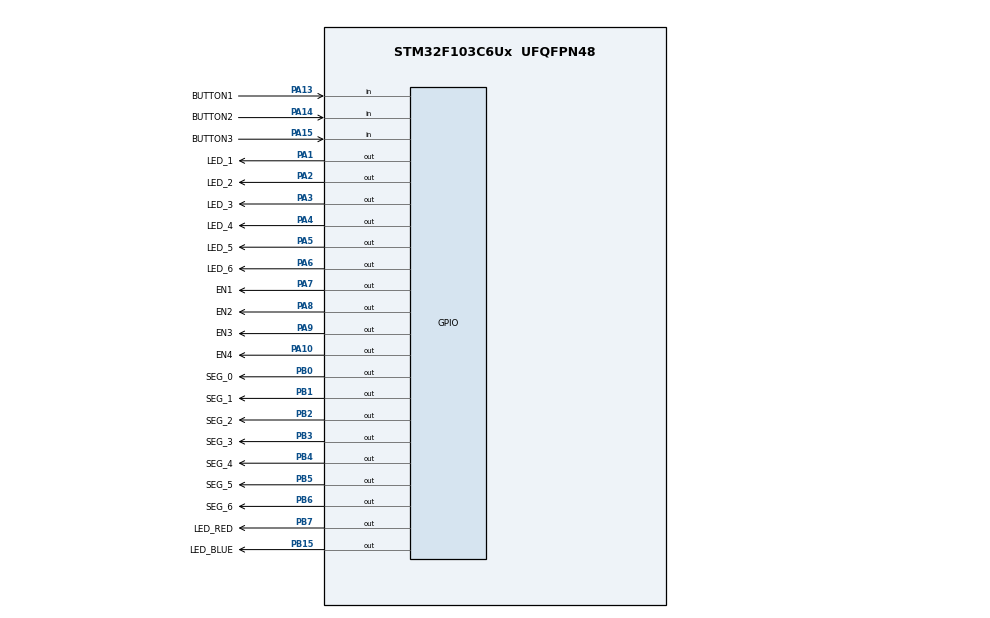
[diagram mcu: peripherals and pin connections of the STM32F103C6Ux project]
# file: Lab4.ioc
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Mcu.Family=STM32F1
Mcu.Name=STM32F103C6Ux
Mcu.Package=UFQFPN48
NVIC.PriorityGroup=NVIC_PRIORITYGROUP_4
NVIC.TIM2_IRQn=true\:0\:0\:false\:false\:true\:true\:true
PA1.GPIO_Label=LED_1
PA1.Signal=GPIO_Output
PA10.GPIO_Label=EN4
PA10.Signal=GPIO_Output
PA13.GPIO_Label=BUTTON1
PA13.GPIO_PuPd=GPIO_PULLUP
PA13.Signal=GPIO_Input
PA14.GPIO_Label=BUTTON2
PA14.GPIO_PuPd=GPIO_PULLUP
PA14.Signal=GPIO_Input
PA15.GPIO_Label=BUTTON3
PA15.GPIO_PuPd=GPIO_PULLUP
PA15.Signal=GPIO_Input
PA2.GPIO_Label=LED_2
PA2.Signal=GPIO_Output
PA3.GPIO_Label=LED_3
PA3.Signal=GPIO_Output
PA4.GPIO_Label=LED_4
PA4.Signal=GPIO_Output
PA5.GPIO_Label=LED_5
PA5.Signal=GPIO_Output
PA6.GPIO_Label=LED_6
PA6.Signal=GPIO_Output
PA7.GPIO_Label=EN1
PA7.Signal=GPIO_Output
PA8.GPIO_Label=EN2
PA8.Signal=GPIO_Output
PA9.GPIO_Label=EN3
PA9.Signal=GPIO_Output
PB0.GPIO_Label=SEG_0
PB0.Signal=GPIO_Output
PB1.GPIO_Label=SEG_1
PB1.Signal=GPIO_Output
PB15.GPIO_Label=LED_BLUE
PB15.Signal=GPIO_Output
PB2.GPIO_Label=SEG_2
PB2.Signal=GPIO_Output
PB3.GPIO_Label=SEG_3
PB3.Signal=GPIO_Output
PB4.GPIO_Label=SEG_4
PB4.Signal=GPIO_Output
PB5.GPIO_Label=SEG_5
PB5.Signal=GPIO_Output
PB6.GPIO_Label=SEG_6
PB6.Signal=GPIO_Output
PB7.GPIO_Label=LED_RED
PB7.Signal=GPIO_Output
ProjectManager.HeapSize=0x200
ProjectManager.StackSize=0x400
ProjectManager.TargetToolchain=STM32CubeIDE
RCC.APB1Freq_Value=8000000
RCC.APB2Freq_Value=8000000
TIM2.Period=9
TIM2.Prescaler=7999
VP_SYS_VS_ND.Mode=No_Debug
VP_TIM2_VS_ClockSourceINT.Mode=Internal
board=custom

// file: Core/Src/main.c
/* USER CODE BEGIN Header */
/**
  ******************************************************************************
  * @file           : main.c
  * @brief          : Main program body
  ******************************************************************************
  * @attention
  *
  * <h2><center>&copy; Copyright (c) 2024 STMicroelectronics.
  * All rights reserved.</center></h2>
  *
  * This software component is licensed by ST under BSD 3-Clause license,
  * the "License"; You may not use this file except in compliance with the
  * License. You may obtain a copy of the License at:
  *                        opensource.org/licenses/BSD-3-Clause
  *
  ******************************************************************************
  */
/* USER CODE END Header */
#include "main.h"

/* USER CODE BEGIN Includes */
#include "global.h"
#include "softwareTimer.h"
#include "fsm_automatic.h"
#include "trafficLights.h"
#include "button.h"
#include "fsm_manual.h"

#include "scheduler.h"
/* USER CODE END Includes */

TIM_HandleTypeDef htim2;

void SystemClock_Config(void);
static void MX_GPIO_Init(void);
static void MX_TIM2_Init(void);

/* USER CODE BEGIN 0 */
void testScheduler()
{
	HAL_GPIO_TogglePin(LED_BLUE_GPIO_Port, LED_BLUE_Pin);
}

void testOneShotTask() {
//	HAL_GPIO_WritePin(LED_1_GPIO_Port, LED_1_Pin, GPIO_PIN_SET);
	HAL_GPIO_TogglePin(LED_1_GPIO_Port, LED_1_Pin);
}

//void scan7SegLedTask()
//{
//	if (ledIndex >= MAX_LED) {
//		ledIndex = 0;
//	}
//	update7seg(ledIndex++);
//}

/* USER CODE END 0 */

int main(void)
{

  /* MCU Configuration--------------------------------------------------------*/

  /* Reset of all peripherals, Initializes the Flash interface and the Systick. */
  HAL_Init();

  /* Configure the system clock */
  SystemClock_Config();

  /* Initialize all configured peripherals */
  MX_GPIO_Init();
  MX_TIM2_Init();
  /* USER CODE BEGIN 2 */
  HAL_TIM_Base_Start_IT(&htim2);
  /* USER CODE END 2 */

  /* Infinite loop */
  /* USER CODE BEGIN WHILE */
//  int count = 0; //test
//  setTimerFor7segLed(250);	//test
//  initial();

//------------run lab 3------------------
//  setTimer1(1000);
  status = START;
//  setTimerFor7segLed(1000);
//  setTimerFor1Second(1000);
//------------run lab 3------------------

//  SCH_Add_Task(testScheduler, 0, 50);
//  SCH_Add_Task(testOneShotTask, 0, 0);

  SCH_Add_Task(scan7SegLedTask, 0, 250);
  SCH_Add_Task(oneSecondTask, 0, 1000);
  SCH_Add_Task(getKeyInput, 0, 10);
  SCH_Add_Task(fsm_automatic_run, 0, 10);
  SCH_Add_Task(fsm_manual_run, 0, 10);

  while (1)
  {
    /* USER CODE END WHILE */

    /* USER CODE BEGIN 3 */

//	  SCH_Dispatch_Tasks();
	  SCH_Dispatch_Task();		//TTan's scheduler

	  //------------TEST DELETE TASK BY FUNCTION-------------------
//	  currentTime = HAL_GetTick();
//	  if (currentTime - previousTime >= 10000) {
//		  SCH_Delete_Task_By_Function(testScheduler);
//	  }
	  //------------TEST DELETE TASK BY FUNCTION-------------------

	  //------------run lab 3------------------
//	  fsm_automatic_run();
//	  fsm_manual_run();
	  //------------run lab 3------------------

	  //==============TEST TIMER=================================
//	  if (oneSecond_flag == 1) {
//		  setTimerFor1Second(1000);
//		  toggleAllLeds();
//		  toggleGreen();
//	  }
	  //==============TEST TIMER=================================

	  //==============TEST 7-SEGMENT LED ========================

//	  if (timer7seg_flag == 1) {
//		  setTimerFor7segLed(250);
//		  if (count >= 10) {
//			  count = 0;
//		  }
//		  display7SEG(count++);
//	  }
	  //==============TEST 7-SEGMENT LED ========================

	  //==============TEST BUTTON=======================

//	  if (isButton3Pressed() || isButton1Pressed() || isButton2Pressed()) {
//		  HAL_GPIO_TogglePin(LED_BLUE_GPIO_Port, LED_BLUE_Pin);
//	  }

	  //==============TEST BUTTON=======================

  }
  /* USER CODE END 3 */
}

void SystemClock_Config(void)
{
  RCC_OscInitTypeDef RCC_OscInitStruct = {0};
  RCC_ClkInitTypeDef RCC_ClkInitStruct = {0};

  /** Initializes the RCC Oscillators according to the specified parameters
  * in the RCC_OscInitTypeDef structure.
  */
  RCC_OscInitStruct.OscillatorType = RCC_OSCILLATORTYPE_HSI;
  RCC_OscInitStruct.HSIState = RCC_HSI_ON;
  RCC_OscInitStruct.HSICalibrationValue = RCC_HSICALIBRATION_DEFAULT;
  RCC_OscInitStruct.PLL.PLLState = RCC_PLL_NONE;
  if (HAL_RCC_OscConfig(&RCC_OscInitStruct) != HAL_OK)
  {
    Error_Handler();
  }
  /** Initializes the CPU, AHB and APB buses clocks
  */
  RCC_ClkInitStruct.ClockType = RCC_CLOCKTYPE_HCLK|RCC_CLOCKTYPE_SYSCLK
                              |RCC_CLOCKTYPE_PCLK1|RCC_CLOCKTYPE_PCLK2;
  RCC_ClkInitStruct.SYSCLKSource = RCC_SYSCLKSOURCE_HSI;
  RCC_ClkInitStruct.AHBCLKDivider = RCC_SYSCLK_DIV1;
  RCC_ClkInitStruct.APB1CLKDivider = RCC_HCLK_DIV1;
  RCC_ClkInitStruct.APB2CLKDivider = RCC_HCLK_DIV1;

  if (HAL_RCC_ClockConfig(&RCC_ClkInitStruct, FLASH_LATENCY_0) != HAL_OK)
  {
    Error_Handler();
  }
}

static void MX_TIM2_Init(void)
{

  TIM_ClockConfigTypeDef sClockSourceConfig = {0};
  TIM_MasterConfigTypeDef sMasterConfig = {0};

  htim2.Instance = TIM2;
  htim2.Init.Prescaler = 7999;
  htim2.Init.CounterMode = TIM_COUNTERMODE_UP;
  htim2.Init.Period = 9;
  htim2.Init.ClockDivision = TIM_CLOCKDIVISION_DIV1;
  htim2.Init.AutoReloadPreload = TIM_AUTORELOAD_PRELOAD_DISABLE;
  if (HAL_TIM_Base_Init(&htim2) != HAL_OK)
  {
    Error_Handler();
  }
  sClockSourceConfig.ClockSource = TIM_CLOCKSOURCE_INTERNAL;
  if (HAL_TIM_ConfigClockSource(&htim2, &sClockSourceConfig) != HAL_OK)
  {
    Error_Handler();
  }
  sMasterConfig.MasterOutputTrigger = TIM_TRGO_RESET;
  sMasterConfig.MasterSlaveMode = TIM_MASTERSLAVEMODE_DISABLE;
  if (HAL_TIMEx_MasterConfigSynchronization(&htim2, &sMasterConfig) != HAL_OK)
  {
    Error_Handler();
  }

}

static void MX_GPIO_Init(void)
{
  GPIO_InitTypeDef GPIO_InitStruct = {0};

  /* GPIO Ports Clock Enable */
  __HAL_RCC_GPIOA_CLK_ENABLE();
  __HAL_RCC_GPIOB_CLK_ENABLE();

  /*Configure GPIO pin Output Level */
  HAL_GPIO_WritePin(GPIOA, LED_1_Pin|LED_2_Pin|LED_3_Pin|LED_4_Pin
                          |LED_5_Pin|LED_6_Pin|EN1_Pin|EN2_Pin
                          |EN3_Pin|EN4_Pin, GPIO_PIN_RESET);

  /*Configure GPIO pin Output Level */
  HAL_GPIO_WritePin(GPIOB, SEG_0_Pin|SEG_1_Pin|SEG_2_Pin|LED_BLUE_Pin
                          |SEG_3_Pin|SEG_4_Pin|SEG_5_Pin|SEG_6_Pin
                          |LED_RED_Pin, GPIO_PIN_RESET);

  /*Configure GPIO pins : LED_1_Pin LED_2_Pin LED_3_Pin LED_4_Pin
                           LED_5_Pin LED_6_Pin EN1_Pin EN2_Pin
                           EN3_Pin EN4_Pin */
  GPIO_InitStruct.Pin = LED_1_Pin|LED_2_Pin|LED_3_Pin|LED_4_Pin
                          |LED_5_Pin|LED_6_Pin|EN1_Pin|EN2_Pin
                          |EN3_Pin|EN4_Pin;
  GPIO_InitStruct.Mode = GPIO_MODE_OUTPUT_PP;
  GPIO_InitStruct.Pull = GPIO_NOPULL;
  GPIO_InitStruct.Speed = GPIO_SPEED_FREQ_LOW;
  HAL_GPIO_Init(GPIOA, &GPIO_InitStruct);

  /*Configure GPIO pins : SEG_0_Pin SEG_1_Pin SEG_2_Pin LED_BLUE_Pin
                           SEG_3_Pin SEG_4_Pin SEG_5_Pin SEG_6_Pin
                           LED_RED_Pin */
  GPIO_InitStruct.Pin = SEG_0_Pin|SEG_1_Pin|SEG_2_Pin|LED_BLUE_Pin
                          |SEG_3_Pin|SEG_4_Pin|SEG_5_Pin|SEG_6_Pin
                          |LED_RED_Pin;
  GPIO_InitStruct.Mode = GPIO_MODE_OUTPUT_PP;
  GPIO_InitStruct.Pull = GPIO_NOPULL;
  GPIO_InitStruct.Speed = GPIO_SPEED_FREQ_LOW;
  HAL_GPIO_Init(GPIOB, &GPIO_InitStruct);

  /*Configure GPIO pins : BUTTON1_Pin BUTTON2_Pin BUTTON3_Pin */
  GPIO_InitStruct.Pin = BUTTON1_Pin|BUTTON2_Pin|BUTTON3_Pin;
  GPIO_InitStruct.Mode = GPIO_MODE_INPUT;
  GPIO_InitStruct.Pull = GPIO_PULLUP;
  HAL_GPIO_Init(GPIOA, &GPIO_InitStruct);

}

/* USER CODE BEGIN 4 */
void HAL_TIM_PeriodElapsedCallback(TIM_HandleTypeDef *htim)
{
//	timerRun();
//	getKeyInput();

	SCH_Update();
}
/* USER CODE END 4 */

void Error_Handler(void)
{
  __disable_irq();
  while (1)
  {
  }
}

/************************ (C) COPYRIGHT STMicroelectronics *****END OF FILE****/
